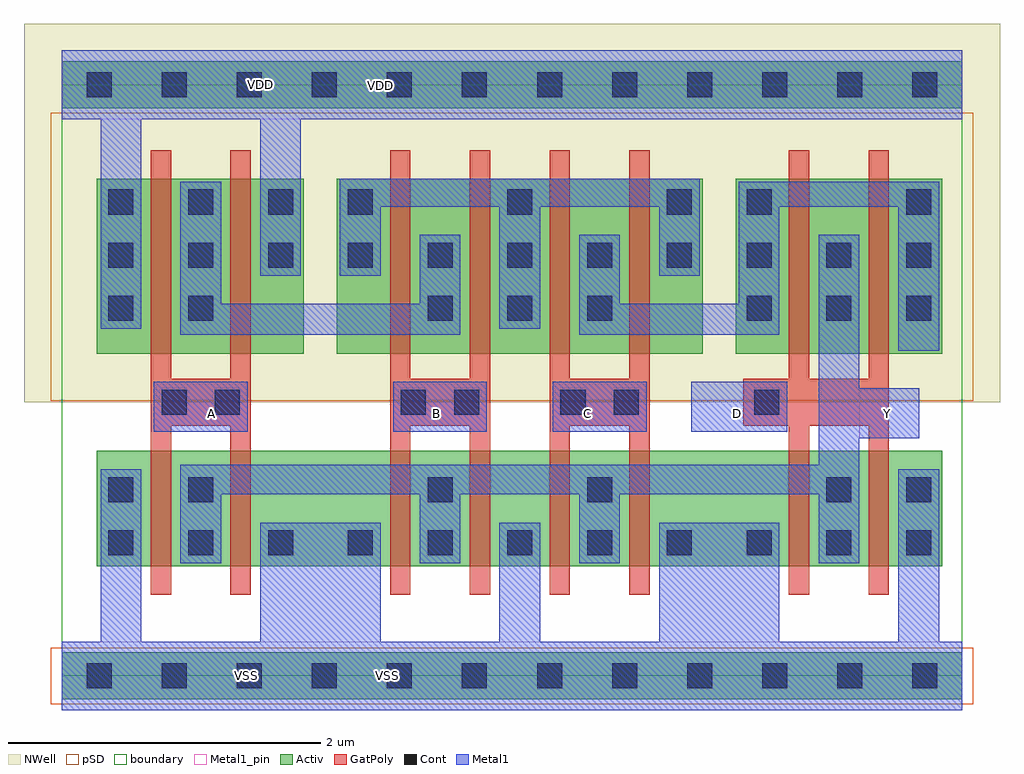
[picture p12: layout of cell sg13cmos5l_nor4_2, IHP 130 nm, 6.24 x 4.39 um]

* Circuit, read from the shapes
.subckt sg13cmos5l_nor4_2 A B C D VDD VSS Y
XM1 Y A VSS VSS sg13_lv_nmos w=0.74u l=0.13u m=2
XM2 Y B VSS VSS sg13_lv_nmos w=0.74u l=0.13u m=2
XM3 Y C VSS VSS sg13_lv_nmos w=0.74u l=0.13u m=2
XM4 Y D VSS VSS sg13_lv_nmos w=0.74u l=0.13u m=2
XM5 n1 A VDD VDD sg13_lv_pmos w=1.12u l=0.13u m=2
XM6 n1 B n2 VDD sg13_lv_pmos w=1.12u l=0.13u m=2
XM7 n3 C n2 VDD sg13_lv_pmos w=1.12u l=0.13u m=2
XM8 Y D n3 VDD sg13_lv_pmos w=1.12u l=0.13u m=2
.ends

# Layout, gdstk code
import gdstk
lib = gdstk.Library(unit=1e-6, precision=1e-09)
def R(c, l, rs):  # rectangles x0, y0, x1, y1
    for r in rs: c.add(gdstk.rectangle(r[:2], r[2:], *l))
def A(c, l, x, y, w, h, nx, ny, dx, dy):  # array of equal rectangles
    R(c, l, [(x+i*dx, y+j*dy, x+i*dx+w, y+j*dy+h) for i in range(nx) for j in range(ny)])
def P(c, l, *ps):  # polygons
    for p in ps: c.add(gdstk.Polygon(p, *l))
Activ = (1, 0)
GatPoly = (5, 0)
Cont = (6, 0)
Metal1 = (8, 0)
Metal1_pin = (8, 2)
pSD = (14, 0)
NWell = (31, 0)
boundary = (189, 4)

sg13cmos5l_nor4_2 = lib.new_cell('sg13cmos5l_nor4_2')
R(sg13cmos5l_nor4_2, Activ, [(0,-0.15,5.76,0.15), (0.225,0.7,5.63,1.44), (0.225,2.06,1.55,3.18), (1.76,2.06,4.1,3.18), (4.31,2.06,5.63,3.18), (0,3.63,5.76,3.93)])
P(sg13cmos5l_nor4_2, GatPoly, [(0.57,0.52),(0.57,3.36),(0.7,3.36),(0.7,1.9),(1.08,1.9),(1.08,3.36),(1.21,3.36),(1.21,0.52),(1.08,0.52),(1.08,1.6),(0.7,1.6),(0.7,0.52)],
  [(2.1,0.52),(2.1,3.36),(2.23,3.36),(2.23,1.9),(2.61,1.9),(2.61,3.36),(2.74,3.36),(2.74,0.52),(2.61,0.52),(2.61,1.6),(2.23,1.6),(2.23,0.52)],
  [(3.12,0.52),(3.12,3.36),(3.25,3.36),(3.25,1.9),(3.63,1.9),(3.63,3.36),(3.76,3.36),(3.76,0.52),(3.63,0.52),(3.63,1.6),(3.25,1.6),(3.25,0.52)],
  [(4.65,0.52),(4.65,1.6),(4.36,1.6),(4.36,1.9),(4.65,1.9),(4.65,3.36),(4.78,3.36),(4.78,1.9),(5.16,1.9),(5.16,3.36),(5.29,3.36),(5.29,0.52),(5.16,0.52),(5.16,1.6),(4.78,1.6),(4.78,0.52)])
A(sg13cmos5l_nor4_2, Cont, 0.16, -0.08, 0.16, 0.16, 12, 2, 0.48, 3.78)
A(sg13cmos5l_nor4_2, Cont, 0.3, 0.77, 0.16, 0.16, 11, 2, 0.51, 1.84)
A(sg13cmos5l_nor4_2, Cont, 2.34, 2.27, 0.16, 0.16, 3, 1, 0.51, 0)
A(sg13cmos5l_nor4_2, Cont, 4.38, 2.27, 0.16, 0.16, 3, 1, 0.51, 0)
A(sg13cmos5l_nor4_2, Cont, 0.3, 2.95, 0.16, 0.16, 4, 1, 0.51, 0)
R(sg13cmos5l_nor4_2, Cont, [(0.3,1.11,0.46,1.27), (0.81,1.11,0.97,1.27), (2.34,1.11,2.5,1.27), (3.36,1.11,3.52,1.27), (4.89,1.11,5.05,1.27), (5.4,1.11,5.56,1.27), (0.64,1.67,0.8,1.83), (0.98,1.67,1.14,1.83), (2.17,1.67,2.33,1.83), (2.51,1.67,2.67,1.83), (3.19,1.67,3.35,1.83), (3.53,1.67,3.69,1.83), (4.43,1.67,4.59,1.83), (0.3,2.27,0.46,2.43), (0.81,2.27,0.97,2.43), (2.85,2.95,3.01,3.11), (3.87,2.95,4.03,3.11), (4.38,2.95,4.54,3.11), (5.4,2.95,5.56,3.11)])
R(sg13cmos5l_nor4_2, Metal1, [(5.1,1.52,5.485,1.84), (0.59,1.56,1.19,1.88), (2.12,1.56,2.72,1.88), (3.14,1.56,3.74,1.88), (4.025,1.56,4.64,1.88)])
P(sg13cmos5l_nor4_2, Metal1, [(0.76,0.72),(0.76,1.35),(4.84,1.35),(4.84,2.82),(5.1,2.82),(5.1,0.72),(4.84,0.72),(4.84,1.16),(3.57,1.16),(3.57,0.72),(3.31,0.72),(3.31,1.16),(2.55,1.16),(2.55,0.72),(2.29,0.72),(2.29,1.16),(1.02,1.16),(1.02,0.72)],
  [(0.76,2.18),(0.76,3.16),(1.02,3.16),(1.02,2.38),(2.29,2.38),(2.29,2.82),(2.55,2.82),(2.55,2.18)],
  [(2.8,2.22),(2.8,3),(2.04,3),(2.04,2.56),(1.78,2.56),(1.78,3.18),(4.08,3.18),(4.08,2.56),(3.82,2.56),(3.82,3),(3.06,3),(3.06,2.22)],
  [(0,-0.22),(0,0.22),(0.25,0.22),(0.25,1.32),(0.51,1.32),(0.51,0.22),(1.27,0.22),(1.27,0.98),(2.04,0.98),(2.04,0.22),(2.8,0.22),(2.8,0.98),(3.06,0.98),(3.06,0.22),(3.82,0.22),(3.82,0.98),(4.59,0.98),(4.59,0.22),(5.35,0.22),(5.35,1.32),(5.61,1.32),(5.61,0.22),(5.76,0.22),(5.76,-0.22)],
  [(0.25,2.22),(0.25,3.56),(0,3.56),(0,4),(5.76,4),(5.76,3.56),(1.53,3.56),(1.53,2.56),(1.27,2.56),(1.27,3.56),(0.51,3.56),(0.51,2.22)],
  [(5.35,2.08),(5.35,3),(4.59,3),(4.59,2.18),(3.31,2.18),(3.31,2.82),(3.57,2.82),(3.57,2.38),(4.33,2.38),(4.33,3.16),(5.61,3.16),(5.61,2.08)])
R(sg13cmos5l_nor4_2, Metal1_pin, [(0,-0.22,5.76,0.22), (5.1,1.52,5.485,1.84), (0.59,1.56,1.19,1.88), (2.12,1.56,2.72,1.88), (3.14,1.56,3.74,1.88), (4.025,1.56,4.64,1.88), (0,3.56,5.76,4)])
R(sg13cmos5l_nor4_2, pSD, [(-0.07,-0.18,5.83,0.18), (-0.07,1.76,5.83,3.6)])
R(sg13cmos5l_nor4_2, NWell, [(-0.24,1.75,6,4.17)])
R(sg13cmos5l_nor4_2, boundary, [(0,0,5.76,3.78)])
sg13cmos5l_nor4_2.add(gdstk.Label('Y', (5.28,1.68), layer=8, texttype=25))
sg13cmos5l_nor4_2.add(gdstk.Label('VSS', (1.18,0), layer=8, texttype=25))
sg13cmos5l_nor4_2.add(gdstk.Label('D', (4.32,1.68), layer=8, texttype=25))
sg13cmos5l_nor4_2.add(gdstk.Label('VDD', (2.04,3.775), layer=8, texttype=25))
sg13cmos5l_nor4_2.add(gdstk.Label('B', (2.4,1.68), layer=8, texttype=25))
sg13cmos5l_nor4_2.add(gdstk.Label('A', (0.96,1.68), layer=8, texttype=25))
sg13cmos5l_nor4_2.add(gdstk.Label('VDD', (1.275,3.78), layer=8, texttype=25))
sg13cmos5l_nor4_2.add(gdstk.Label('VSS', (2.085,0.005), layer=8, texttype=25))
sg13cmos5l_nor4_2.add(gdstk.Label('C', (3.36,1.68), layer=8, texttype=25))

lib.write_gds('sg13cmos5l_nor4_2.gds')
